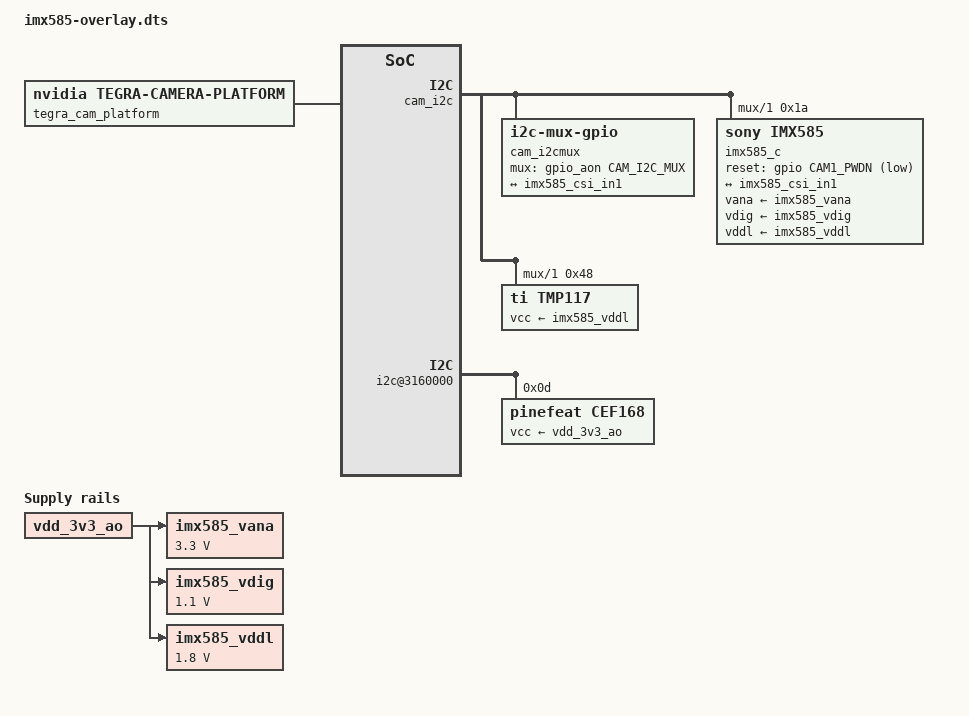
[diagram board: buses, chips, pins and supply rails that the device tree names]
// SPDX-License-Identifier: GPL-2.0-only

/dts-v1/;
/plugin/;

/* 720 MHz link frequency == 1440 Mbps per lane. This is the value in
 * will127534's own Raspberry Pi overlay for StarlightEye
 * (main:imx585-overlay.dts, link-frequencies = /bits/ 64 <720000000>),
 * and a real entry in the driver's imx585_link_freq_table, so
 * imx585_select_link_freq() matches it and programs regval 0x03.
 *
 * Note Kurokesu's "fixed 720 Mbps" is a LANE RATE, i.e. a 360 MHz link --
 * a different quantity, not this number.
 */
#define IMX585_LANE_RATE 1440000000ULL
#define IMX585_LINK_FREQ (IMX585_LANE_RATE / 2)
#define IMX585_MCLK_FREQ 24000000

/* StarlightEye is a 4-lane board on a 22-pin FPC, so it goes on cam1: cam0 on
 * the p3768 carrier is 2-lane. Nothing here describes cam0. */
#define CAM1_PWDN	TEGRA234_MAIN_GPIO(AC, 0)
#define CAM_I2C_MUX 	TEGRA234_AON_GPIO(CC, 3)

#include <dt-bindings/clock/tegra234-clock.h>
#include <dt-bindings/pinctrl/pinctrl-tegra.h>

#include <dt-bindings/tegra234-p3767-0000-common.h>

/ {
	overlay-name = "Camera IMX585 StarlightEye";
	jetson-header-name = "Jetson 22pin CSI Connector";
	compatible = JETSON_COMPATIBLE_P3768; /* [1] Orin Nano carrier */

	fragment@0 {
		target-path = "/";
		__overlay__ {
			/* Supplies. The driver does devm_regulator_bulk_get() for
			 * "vana", "vdig" and "vddl", so all three must resolve to
			 * something; these nodes are what they resolve to.
			 *
			 * All three are always-on, and on Jetson that is the accurate
			 * model rather than a shortcut. will127534's Raspberry Pi overlay
			 * points vana-supply at cam1_reg with
			 * startup-delay-us = <300000> and uses cam_dummy_reg for the
			 * other two, because the RPi CAM connector's 3V3 is switched by a
			 * host GPIO -- so there the delay covers the on-board LDOs coming
			 * up after 3V3 is applied. The p3768 camera FPC has no such gate:
			 * 3V3 is present whenever the carrier is, so there is nothing for
			 * a startup delay to apply to, and the single camera GPIO is
			 * CAM_EN, already used as reset-gpios below.
			 *
			 * vana is the only rail the host actually provides. vdig and vddl
			 * are generated ON StarlightEye and cannot be controlled from
			 * here at all; they are modelled rather than left as bare dummies
			 * only so the topology and voltages are written down. Treat them
			 * as the equivalent of will's cam_dummy_reg.
			 */
			imx585_vana: regulator-imx585-vana {
				compatible = "regulator-fixed";
				regulator-name = "imx585_vana";
				regulator-min-microvolt = <3300000>;
				regulator-max-microvolt = <3300000>;
				regulator-always-on;
				vin-supply = <&vdd_3v3_ao>;
			};

			/* U3, on-board, from the FPC 3V3. */
			imx585_vdig: regulator-imx585-vdig {
				compatible = "regulator-fixed";
				regulator-name = "imx585_vdig";
				regulator-min-microvolt = <1100000>;
				regulator-max-microvolt = <1100000>;
				regulator-always-on;
				vin-supply = <&vdd_3v3_ao>;
			};

			/* U5, SX2M24.000M20F30TNN: StarlightEye's own 24.000 MHz
			 * oscillator, whose Out drives IMX585 pin F4 (INCK). The host
			 * clocks nothing here, so this node exists to STATE the rate, not
			 * to drive a clock -- which is all the driver needs, since
			 * imx585_init_inck_sel() just calls clk_get_rate() and looks the
			 * result up in imx585_inck_table (24000000 -> inck_sel 0x04).
			 */
			imx585_inck: clock-imx585-inck {
				compatible = "fixed-clock";
				#clock-cells = <0>;
				clock-frequency = <IMX585_MCLK_FREQ>;
				clock-output-names = "imx585-inck";
			};

			/* U2, LP5907MFX-1.8: an LDO on StarlightEye fed from the FPC
			 * 3V3, feeding the whole 1.8 V domain -- the sensor's VDDL and
			 * the TMP117/IMU/CH32V003 on this leg.
			 *
			 * vin-supply is the FPC 3V3, not the carrier's vdd_1v8_ao: that
			 * rail does not reach the camera connector.
			 */
			imx585_vddl: regulator-imx585-vddl {
				compatible = "regulator-fixed";
				regulator-name = "imx585_vddl";
				regulator-min-microvolt = <1800000>;
				regulator-max-microvolt = <1800000>;
				regulator-always-on;
				vin-supply = <&vdd_3v3_ao>;
			};

			tegra-capture-vi  {
				num-channels = <1>;
				ports {
					#address-cells = <1>;
					#size-cells = <0>;
					port@0 {
						reg = <0>;
						imx585_vi_in1: endpoint {
							port-index = <2>;
							bus-width = <4>;
							data-lanes = <1 2 3 4>;
							clock-lanes = <0>;
							remote-endpoint = <&imx585_csi_out1>;
						};
					};
				};
			};

			tegra_cam_platform: tegra-camera-platform {
				compatible = "nvidia, tegra-camera-platform";
				num_csi_lanes = <4>;
				max_lane_speed = <2500000>;   /* 2.5 Gbps/lane; SI dependent */
				min_bits_per_pixel = <10>;
				vi_peak_byte_per_pixel = <2>;
				vi_bw_margin_pct = <25>;
				max_pixel_rate = <600000000>; /* above the mode's 480 MHz */
				isp_peak_byte_per_pixel = <5>;
				isp_bw_margin_pct = <25>;
				modules {
					module0 {
						badge = "jakku_rear_IMX585";
						position = "rear";
						orientation = "1";
						drivernode0 {
							pcl_id = "v4l2_sensor";
							sysfs-device-tree = "/sys/firmware/devicetree/base/bus@0/cam_i2cmux/i2c@1/imx585_c@1a";
						};
					};
				};
			};
			bus@0 {
				host1x@13e00000 {
					nvcsi@15a00000 {
						num-channels = <1>;
						#address-cells = <1>;
						#size-cells = <0>;
						channel@0 {
							reg = <0>;
							ports {
								#address-cells = <1>;
								#size-cells = <0>;
								port@0 {
									reg = <0>;
									imx585_csi_in1: endpoint@0 {
										port-index = <2>;
										bus-width = <4>;
										remote-endpoint = <&imx585_out1>;
									};
								};
								port@1 {
									reg = <1>;
									imx585_csi_out1: endpoint@1 {
										remote-endpoint = <&imx585_vi_in1>;
									};
								};
							};
						};
					};
				};
				cam_i2cmux {
					status = "okay";
					compatible = "i2c-mux-gpio";
					#address-cells = <1>;
					#size-cells = <0>;
					mux-gpios = <&gpio_aon CAM_I2C_MUX GPIO_ACTIVE_HIGH>;
					i2c-parent = <&cam_i2c>;

					i2c@1 {
						status = "okay";
						reg = <1>;
						#address-cells = <1>;
						#size-cells = <0>;

						/* cam1 = serial_c, the 4-lane connector: the StarlightEye. */
						imx585_c: imx585_c@1a {
							status = "okay";
							/* CAM1_PWDN is the carrier's CAM_EN line, which
							 * StarlightEye wires to the sensor's XCLR: high runs,
							 * low holds the sensor in reset. Declaring it active-low
							 * lets the driver say "assert reset" and have the pin
							 * go low, which is the conventional reset-gpios sense. */
							reset-gpios = <&gpio CAM1_PWDN GPIO_ACTIVE_LOW>;
							/* The standard V4L2 association between a sensor and its
							 * focus actuator. The driver resolves this phandle and
							 * registers a sub-notifier for it, which is what gets the
							 * CEF168 bound to VI's v4l2_device and therefore given a
							 * /dev/v4l-subdev node -- VI itself only discovers subdevs
							 * by walking of_graph endpoints, and a lens has none.
							 *
							 * Consequence worth knowing: once this phandle is here and
							 * points at an enabled node, VI's notifier cannot complete
							 * until that subdev binds (v4l2_async_nf_can_complete()
							 * recurses into sub-notifiers), so a CEF168 whose *driver*
							 * never loads means no /dev/video0 at all. The driver
							 * guards against the node being disabled; it cannot guard
							 * against kernel-module-cef168 being absent from the image.
							 * cef168_probe() does no I2C, so a disconnected or
							 * unresponsive controller still binds and the camera still
							 * comes up -- focus writes just fail.
							 */
							lens-focus = <&cef168>;
							compatible = "sony,imx585";
							/* The CH32V003 IR-cut filter switch (U7, driving the
							 * DRV8837C motor driver U8) is a second address of the
							 * camera module: the driver claims it as an ancillary
							 * client and exposes an "IR Cut Filter" control on the
							 * video node. ir-cut-default is the position driven at
							 * probe, since the filter latches and is in an unknown
							 * place after power-up: 1 = in (colour), 0 = out
							 * (infrared reaches the sensor). */
							reg = <0x1a>, <0x34>;
							reg-names = "sensor", "ircut";
							ir-cut-default = <1>;
							devnode = "video1";
							/* On-board oscillator -- see imx585_inck above. The name must match
							 * `mclk`: imx585_parse_dt() reads that string into pdata->mclk_name
							 * and imx585_power_get() does devm_clk_get(dev, pdata->mclk_name).
							 * power_on() only clk_prepare_enable()s it and never clk_set_rate(),
							 * so a fixed-clock is safe here.
							 */
							clocks = <&imx585_inck>;
							clock-names = "inck";
							mclk = "inck";
							vana-supply = <&imx585_vana>;
							vdig-supply = <&imx585_vdig>;
							vddl-supply = <&imx585_vddl>;
							physical_w = "11.13";
							physical_h = "6.26";
							sensor_model = "imx585";
							use_sensor_mode_id = "true";

							imx585_c_mode0: mode0 {
								mclk_khz = "24000";
								num_lanes = "4";
								tegra_sinterface = "serial_c";
								phy_mode = "DPHY";
								discontinuous_clk = "no";
								dpcm_enable = "false";
								cil_settletime = "0";
								lane_polarity = "0";
								active_w = "3856";
								active_h = "2180";
								mode_type = "bayer";
								pixel_phase = "rggb";
								csi_pixel_bit_depth = "12";	/* IMX585 is RAW12 */
								readout_orientation = "90";
								line_length = "4266";       /* pixel_clock * HMAX / 74.25MHz, truncated as the driver does */
								mclk_multiplier = "80";
								pix_clk_hz = "480000000";   /* link 720MHz * 2 * 4 lanes / 12 bpp */
								gain_factor = "10";   /* dB*10 */
								framerate_factor = "1000000";
								exposure_factor = "1000000";
								min_gain_val = "0";   /* 0 dB */
								max_gain_val = "720"; /* 72 dB */
								step_gain_val = "3";  /* 0.3 dB */
								default_gain = "0";   /* unity */
								min_hdr_ratio = "1";
								max_hdr_ratio = "1";
								min_framerate = "1000000";
								max_framerate = "50000000"; /* 50 fps at 720MHz link */
								step_framerate = "1";
								default_framerate = "50000000";
								min_exp_time = "10";
								max_exp_time = "33333";
								step_exp_time = "1";
								default_exp_time = "10000";
								embedded_metadata_height = "0"; /* 0x303a=0x03 disables embedded data */
							};

							ports {
								#address-cells = <1>;
								#size-cells = <0>;
								port@0 {
									reg = <0>;
									imx585_out1: endpoint {
										status = "okay";
										port-index = <2>;
										bus-width = <4>;
										/* f_link = IMX585_LANE_RATE / 2 = 720 MHz (CSI-2 DDR clock) */
										link-frequencies = /bits/ 64 <IMX585_LINK_FREQ>;
										data-lanes = <1 2 3 4>;
										remote-endpoint = <&imx585_csi_in1>;
									};
								};
							};
						};

						/* ---------------------------------------------------------------
						 * StarlightEye on-board I2C peripherals.
						 *
						 * These sit on the sensor's 1.8 V I2C, behind the TCA9406 level
						 * translator (U9) that bridges to the 3.3 V SCL/SDA on the 22-pin
						 * FPC -- so from the Jetson's side they are simply more devices on
						 * this mux leg. Addresses are annotated on StarlightEye's own
						 * schematic (V2.0, 2025-07-26, KiCad 8.0.4):
						 *
						 *   0x1a  IMX585            U4
						 *   0x34  IR filter switch  U7   CH32V003, no kernel driver
						 *   0x48  TMP117            U6
						 *   0x68  ICM-42688-P       U11
						 *
						 * imx585_vddl is the +1V8 rail. It is named for the sensor, but on
						 * this board that rail is LP5907MFX-1.8 (U2) feeding the whole
						 * 1.8 V domain, these peripherals included.
						 * ---------------------------------------------------------------
						 */

						/* U6. vcc-supply is REQUIRED by ti,tmp117.yaml, not optional. No
						 * interrupt: the binding defines no interrupt property at all, and
						 * ALERT is not routed off-board. This is the die temperature beside
						 * the sensor, which is what dark current tracks. */
						tmp117@48 {
							compatible = "ti,tmp117";
							reg = <0x48>;
							vcc-supply = <&imx585_vddl>;
							status = "okay";
						};

						/* U11, ICM-42688-P 6-axis IMU.
						 *
						 * DISABLED DELIBERATELY, and it cannot just be switched on.
						 * inv_icm42600_core_probe() in 6.8.12 begins with
						 *
						 *     irq_desc = irq_get_irq_data(irq);
						 *     if (!irq_desc) {
						 *             dev_err(dev, "could not find IRQ %d\n", irq);
						 *             return -EINVAL;
						 *     }
						 *
						 * and inv_icm42600_i2c_probe() passes client->irq, which is 0 when
						 * the node has no interrupt, so irq_get_irq_data(0) returns NULL and
						 * probe fails. There is no polled mode.
						 *
						 * On StarlightEye V2.0 INT1/INT2 reach only TP10/TP13
						 * through R21/R22, both marked DNP, so no interrupt leaves the
						 * board; and the FPC's single camera GPIO is already spent on
						 * CAM_EN. Enabling this node as it stands buys a probe failure in
						 * dmesg every boot and no IIO device.
						 *
						 * To actually use it: populate R21/R22, get INT1 onto a Jetson GPIO,
						 * then add interrupt-parent/interrupts here with
						 * interrupt-names = "INT1" (the driver looks that name up first)
						 * and flip status to okay.
						 */
						icm42688@68 {
							compatible = "invensense,icm42688";
							reg = <0x68>;
							vdd-supply = <&imx585_vddl>;
							vddio-supply = <&imx585_vddl>;
							status = "disabled";
						};

						/* 0x34 -- CH32V003 (U7) IR-cut filter switch, driving the filter
						 * actuator through a DRV8837C (U8). Deliberately has NO node: there
						 * is no kernel driver for it and inventing a compatible would buy
						 * nothing. It is a single-byte write -- the firmware's main.c does
						 * IR_DIR = (I2C1->DATAR == 0x01) -- so drive it from userspace on
						 * this leg's /dev/i2c-N. Recorded here so the address is not handed
						 * to something else.
						 */
					};
				};

				/* CEF168 Canon EF lens controller, on the 40-pin header's
				 * I2C1 rather than the camera FPC.
				 *
				 * Why not on cam_i2cmux/i2c@1 beside the sensor: that mux is
				 * GPIO-switched, so the lens would only be addressable while
				 * that leg is selected, and autofocus traffic would share the
				 * segment with sensor register writes during capture. A
				 * contrast-detect AF loop runs continuously while streaming,
				 * which is exactly when that contention would matter.
				 *
				 * gen1_i2c is status = "disabled" in tegra234.dtsi and no
				 * p3768/p3767 platform .dtsi enables it, so the controller has
				 * to be enabled here -- this is not a no-op.
				 *
				 * Header wiring: pin 1 3V3, pin 3 SDA (gen1_i2c_sda_pi4),
				 * pin 5 SCL (gen1_i2c_scl_pi3), pin 6 GND.
				 *
				 * vcc-supply is required by the driver (devm_regulator_get of
				 * "vcc" then regulator_enable, in probe). Header pin 1 is the
				 * carrier's always-on 3V3, so that is what it points at.
				 */
				i2c@3160000 {
					status = "okay";
					#address-cells = <1>;
					#size-cells = <0>;
					pinctrl-names = "default";
					pinctrl-0 = <&cef168_i2c1_pins>;

					cef168: cef168@d {
						compatible = "pinefeat,cef168";
						reg = <0x0d>;
						vcc-supply = <&vdd_3v3_ao>;
						status = "okay";
					};
				};

				/* Labelled "pinmux", not "pinctrl" -- R39.2.1 has no "pinctrl"
				 * label anywhere in its device tree sources.
				 */
				pinmux@2430000 {
					cef168_i2c1_pins: cef168-i2c1-pins {
						nvidia,pins = "gen1_i2c_sda_pi4",
							      "gen1_i2c_scl_pi3";
						nvidia,function = "i2c1";
						nvidia,tristate = <TEGRA_PIN_DISABLE>;
						nvidia,enable-input = <TEGRA_PIN_ENABLE>;
						nvidia,pull = <TEGRA_PIN_PULL_UP>;
					};
				};
			};
		};
	};
};
